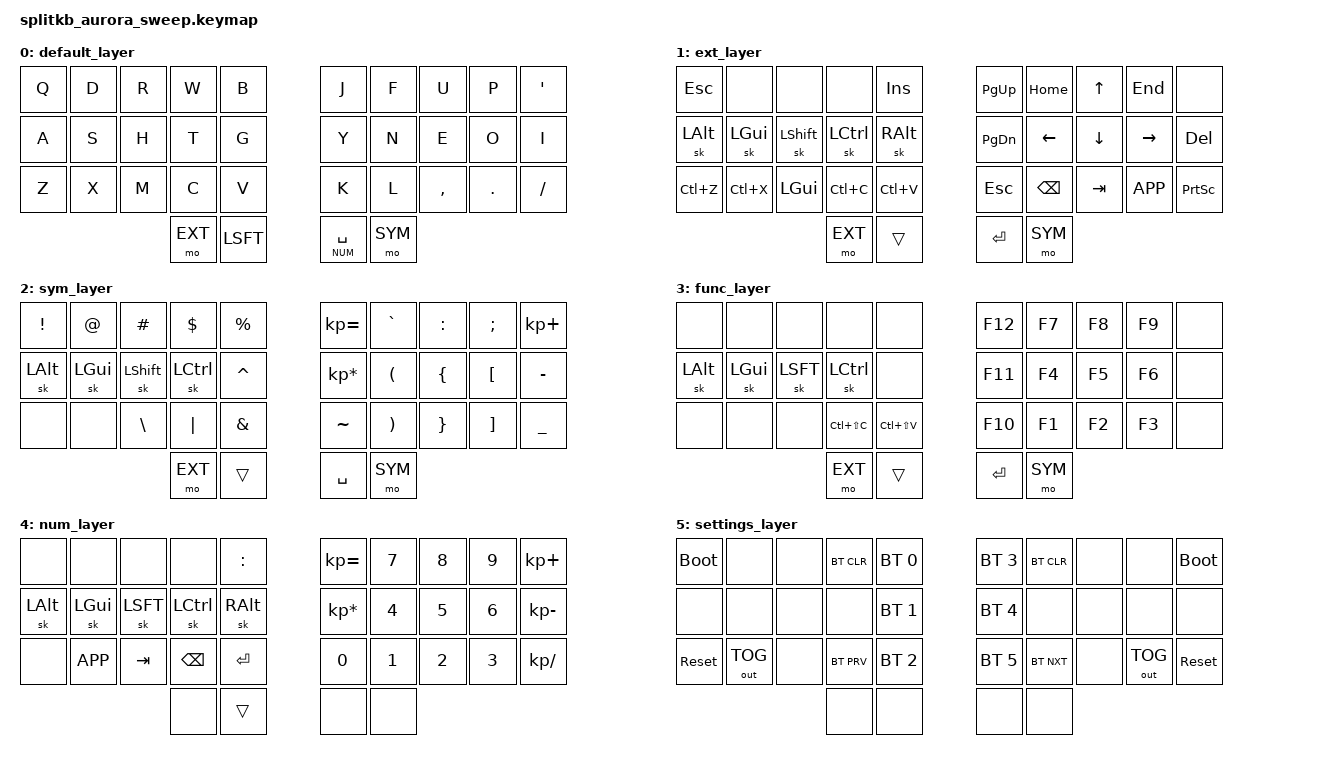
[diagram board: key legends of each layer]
/*
 * Copyright (c) 2022 The ZMK Contributors
 *
 * SPDX-License-Identifier: MIT
 */

#include <behaviors.dtsi>
#include <dt-bindings/zmk/keys.h>
#include <dt-bindings/zmk/bt.h>
#include <dt-bindings/zmk/outputs.h>

#define DEFAULT 0
#define EXT 1
#define SYM 2
#define FUNC 3
#define NUM 4
#define BLE 5

&mt {
  //  flavor = "tap-preferred";
   // tapping_term_ms = <200>;
};

&sk {
    // stay pressed for 2 seconds
    release-after-ms = <2000>;
};

/ {

    conditional_layers {
        compatible = "zmk,conditional-layers";
        func_layer {
            if-layers = <EXT SYM>;
            then-layer = <FUNC>;
        };
    };

    combos {
        compatible = "zmk,combos";
        combo_esc {
            timeout-ms = <50>;
            key-positions = <22 23>;
            bindings = <&kp ESC>;
        };

         combo_tab {
            timeout-ms = <50>;
            key-positions = <10 11>;
            bindings = <&kp TAB>;
        };

        combo_ralt {
            timeout-ms = <50>;
            key-positions = <7 8>;
            bindings = <&sk RALT>;
        };

        combo_num_layer_left {
            timeout-ms = <50>;
            key-positions = <30 31>;
            bindings = <&mo NUM>;
        };

        combo_num_layer_right {
            timeout-ms = <50>;
            key-positions = <32 33>;
            bindings = <&mo NUM>;
        };

        combo_settings_left {
            timeout-ms = <50>;
            key-positions = <10 11 12 13>;
            bindings = <&mo BLE>;
        };

        combo_settings_right {
            timeout-ms = <50>;
            key-positions = <16 17 18 19>;
            bindings = <&mo BLE>;
        };
    };

        keymap {
                compatible = "zmk,keymap";

        default_layer {
            bindings = <
        &kp Q &kp D &kp R &kp W &kp B          &kp J &kp F &kp U     &kp P   &kp APOS
        &kp A &kp S &kp H &kp T &kp G          &kp Y &kp N &kp E     &kp O   &kp I
        &kp Z &kp X &kp M &kp C &kp V          &kp K &kp L &kp COMMA &kp DOT &kp FSLH
                        &mo EXT &kp LSFT       &lt NUM SPC &mo SYM
            >;
        };

        ext_layer {
            bindings = <
        &kp ESC    &none       &none      &none     &kp INSERT       &kp PG_UP &kp HOME  &kp UP   &kp END    &none 
        &sk LALT   &sk LGUI    &sk LSHFT  &sk LCTRL &sk RALT         &kp PG_DN &kp LEFT  &kp DOWN &kp RIGHT  &kp DEL
        &kp LC(Z)  &kp LC(X)   &kp LGUI   &kp LC(C) &kp LC(V)        &kp ESC   &kp BSPC  &kp TAB  &kp K_APP  &kp PRINTSCREEN
                                          &mo EXT     &trans           &kp ENTER &mo SYM
            >;
        };

        sym_layer {
            bindings = <
        &kp EXCL  &kp AT   &kp HASH  &kp DLLR  &kp PRCNT          &kp KP_EQUAL    &kp GRAVE &kp COLON &kp SEMI  &kp KP_PLUS
        &sk LALT  &sk LGUI &sk LSHFT &sk LCTRL &kp CARET          &kp KP_MULTIPLY &kp LPAR  &kp LBRC  &kp LBKT  &kp MINUS
        &none     &none    &kp BSLH  &kp PIPE  &kp AMPS           &kp TILDE       &kp RPAR  &kp RBRC  &kp RBKT  &kp UNDER
                                     &mo EXT   &trans             &kp SPC          &mo SYM
            >;
        };

        func_layer {
            bindings = <
        &none    &none    &none    &none         &none          &kp F12   &kp F7  &kp F8  &kp F9  &none
        &sk LALT &sk LGUI &sk LSFT &sk LCTL      &none          &kp F11   &kp F4  &kp F5  &kp F6  &none
        &none    &none    &none    &kp LC(LS(C)) &kp LC(LS(V))  &kp F10   &kp F1  &kp F2  &kp F3  &none
                                         &mo EXT &trans        &kp ENTER &mo SYM
           >;
        };

        num_layer {
            bindings = <
        &none    &none       &none    &none    &kp COLON        &kp KP_EQUAL    &kp N7 &kp N8 &kp N9 &kp KP_PLUS
        &sk LALT &sk LGUI    &sk LSFT &sk LCTL &sk RALT         &kp KP_MULTIPLY &kp N4 &kp N5 &kp N6 &kp KP_MINUS
        &none    &kp K_APP   &kp TAB  &kp BSPC &kp ENTER        &kp N0          &kp N1 &kp N2 &kp N3 &kp KP_DIVIDE
                                       &none    &trans          &none &none
            >;
        };


        settings_layer {
            bindings = <
        &bootloader  &none         &none  &bt BT_CLR  &bt BT_SEL 0     &bt BT_SEL 3  &bt BT_CLR   &none  &none       &bootloader
        &none        &none         &none  &none       &bt BT_SEL 1     &bt BT_SEL 4  &none        &none  &none       &none
        &sys_reset   &out OUT_TOG  &none  &bt BT_PRV  &bt BT_SEL 2     &bt BT_SEL 5  &bt BT_NXT   &none  &out OUT_TOG  &sys_reset
                                   &none       &none            &none        &none
            >;
        };
    };
};
